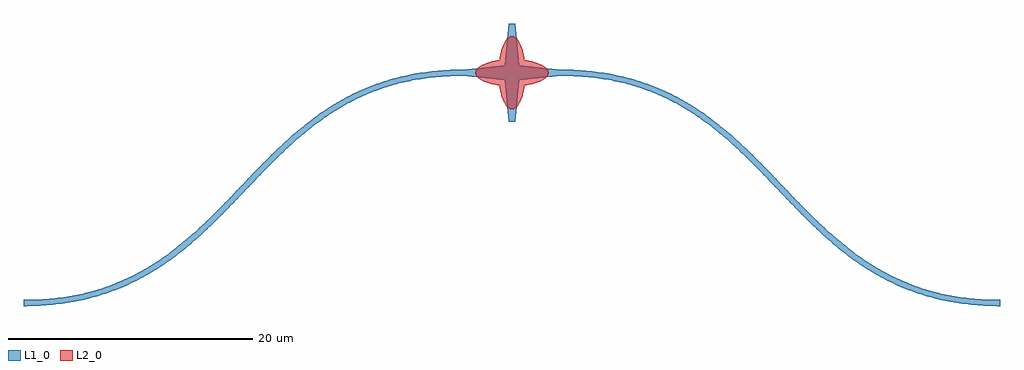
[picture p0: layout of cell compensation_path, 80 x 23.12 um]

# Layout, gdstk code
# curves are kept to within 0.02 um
import gdstk
lib = gdstk.Library(unit=1e-6, precision=1e-09)
def P(c, l, *ps):  # polygons
    for p in ps: c.add(gdstk.Polygon(p, *l))
L1_0 = (1, 0)
L2_0 = (2, 0)

compensation_path = lib.new_cell('compensation_path')
P(compensation_path, L1_0, [(-4,0.25),(-0.6,0.6),(0.6,0.6),(4,0.25),(4,-0.25),(0.6,-0.6),(-0.6,-0.6),(-4,-0.25)],
  [(-0.25,-4),(-0.6,-0.6),(-0.6,0.6),(-0.25,4),(0.25,4),(0.6,0.6),(0.6,-0.6),(0.25,-4)],
  [(-40,-18.62),(-38.444,-18.571),(-36.98,-18.427),(-35.601,-18.194),(-34.303,-17.879),(-32.88,-17.416),(-31.733,-16.944),(-30.646,-16.408),(-29.446,-15.71),(-28.468,-15.056),(-27.531,-14.357),(-26.63,-13.619),(-25.615,-12.716),(-23.806,-10.95),(-20.137,-7.151),(-19.012,-6.055),(-17.844,-4.999),(-16.621,-3.997),(-15.658,-3.291),(-14.476,-2.525),(-13.407,-1.925),(-12.281,-1.385),(-11.294,-0.985),(-10.047,-0.571),(-8.952,-0.285),(-7.803,-0.056),(-6.597,0.112),(-5.33,0.215),(-4,0.25),(-4,-0.25),(-5.806,-0.317),(-7.489,-0.511),(-9.057,-0.823),(-10.522,-1.243),(-11.509,-1.604),(-12.635,-2.098),(-13.704,-2.654),(-14.72,-3.266),(-15.691,-3.927),(-16.469,-4.513),(-17.37,-5.251),(-18.385,-6.154),(-20.194,-7.92),(-23.863,-11.719),(-24.988,-12.815),(-26.156,-13.871),(-27.379,-14.873),(-28.342,-15.579),(-29.524,-16.345),(-30.593,-16.945),(-31.913,-17.569),(-33.114,-18.031),(-34.385,-18.42),(-35.963,-18.773),(-36.914,-18.922),(-37.902,-19.031),(-38.931,-19.097),(-40,-19.12)],
  [(40,-18.62),(38.444,-18.571),(36.98,-18.427),(35.601,-18.194),(34.303,-17.879),(32.88,-17.416),(31.733,-16.944),(30.646,-16.408),(29.446,-15.71),(28.468,-15.056),(27.531,-14.357),(26.63,-13.619),(25.615,-12.716),(23.806,-10.95),(20.137,-7.151),(19.012,-6.055),(17.844,-4.999),(16.621,-3.997),(15.658,-3.291),(14.476,-2.525),(13.407,-1.925),(12.281,-1.385),(11.294,-0.985),(10.047,-0.571),(8.952,-0.285),(7.803,-0.056),(6.597,0.112),(5.33,0.215),(4,0.25),(4,-0.25),(5.806,-0.317),(7.489,-0.511),(9.057,-0.823),(10.522,-1.243),(11.509,-1.604),(12.635,-2.098),(13.704,-2.654),(14.72,-3.266),(15.691,-3.927),(16.469,-4.513),(17.37,-5.251),(18.385,-6.154),(20.194,-7.92),(23.863,-11.719),(24.988,-12.815),(26.156,-13.871),(27.379,-14.873),(28.342,-15.579),(29.524,-16.345),(30.593,-16.945),(31.913,-17.569),(33.114,-18.031),(34.385,-18.42),(35.963,-18.773),(36.914,-18.922),(37.902,-19.031),(38.931,-19.097),(40,-19.12)])
P(compensation_path, L2_0, [(3,0),(2.979,0.13),(2.824,0.372),(2.567,0.569),(2.129,0.775),(1.728,0.899),(1.201,1.008),(0.621,1.076),(0.048,1.1),(-0.45,1.088),(-1.115,1.021),(-1.608,0.929),(-2.129,0.775),(-2.567,0.569),(-2.824,0.372),(-2.979,0.13),(-3,0),(-2.979,-0.13),(-2.824,-0.372),(-2.567,-0.569),(-2.129,-0.775),(-1.728,-0.899),(-1.201,-1.008),(-0.621,-1.076),(-0.048,-1.1),(0.45,-1.088),(1.115,-1.021),(1.608,-0.929),(2.129,-0.775),(2.567,-0.569),(2.824,-0.372),(2.979,-0.13)],
  [(0,3),(-0.13,2.979),(-0.372,2.824),(-0.569,2.567),(-0.775,2.129),(-0.899,1.728),(-1.008,1.201),(-1.076,0.621),(-1.1,0.048),(-1.088,-0.45),(-1.021,-1.115),(-0.929,-1.608),(-0.775,-2.129),(-0.569,-2.567),(-0.372,-2.824),(-0.13,-2.979),(0,-3),(0.13,-2.979),(0.372,-2.824),(0.569,-2.567),(0.775,-2.129),(0.899,-1.728),(1.008,-1.201),(1.076,-0.621),(1.1,-0.048),(1.088,0.45),(1.021,1.115),(0.929,1.608),(0.775,2.129),(0.569,2.567),(0.372,2.824),(0.13,2.979)])

lib.write_gds('compensation_path.gds')
